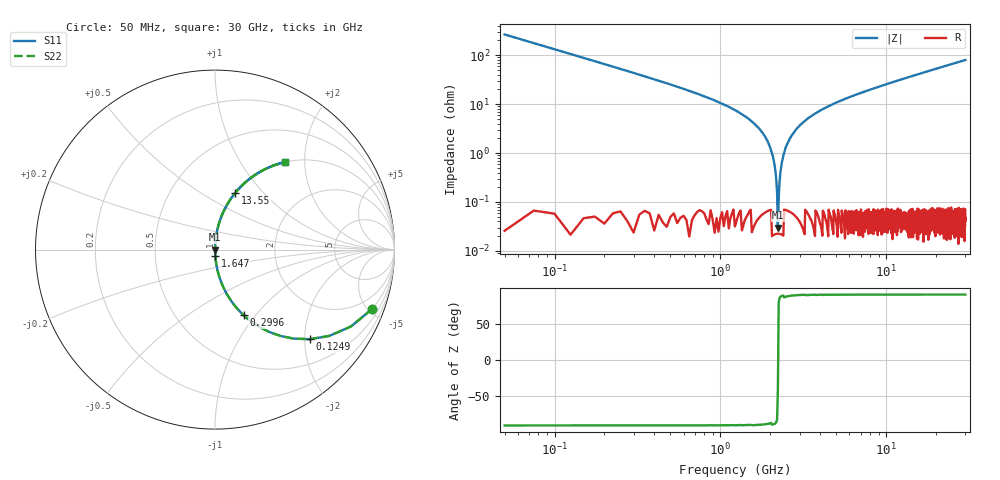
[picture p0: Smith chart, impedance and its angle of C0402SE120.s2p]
# MHZ S MA R 50
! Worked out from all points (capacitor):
!   1201 points, 50 MHz to 30 GHz, reference 50 ohm
!   read as one part in series: C = 12 pF near 199.8 MHz
!   lowest |Z| = 29.8 mohm at 2.221 GHz (marker M1)
!   series resonance near 2.225 GHz, so ESL is about 430 pH
!   S11 on the Smith chart (normalised r, x): 50 MHz: 0.99, -5.30; 124.9 MHz: 1.00, -2.12; 299.6 MHz: 1.00, -0.87; 1.647 GHz: 1.00, -0.07; 13.55 GHz: 1.00, +0.71; 30 GHz: 1.00, +1.60
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50  0.936 -20.7  0.353 69.3  0.353 69.3  0.936 -20.7
124.875  0.727 -43.4  0.687 46.6  0.687 46.6  0.727 -43.4
299.583  0.399 -66.5  0.917 23.5  0.917 23.5  0.399 -66.5
624.042  0.192 -78.8  0.981 11.1  0.981 11.1  0.192 -78.8
1647.333  0.036 -87.2  0.999 2.1  0.999 2.1  0.036 -87.2
1921.875  0.018 -87.5  0.999 1.0  0.999 1.0  0.018 -87.5
2021.708  0.011 -87.1  0.999 0.7  0.999 0.7  0.011 -87.1
2121.542  0.005699 -85.1  1 0.3  1 0.3  0.005699 -85.1
2221.375  0.0004924 -24.0  1 0.0  1 0.0  0.0004924 -24.0
2321.208  0.00506 84.6  1 -0.3  1 -0.3  0.00506 84.6
2446  0.011 87.1  0.999 -0.6  0.999 -0.6  0.011 87.1
2545.833  0.016 87.5  0.999 -0.9  0.999 -0.9  0.016 87.5
2970.125  0.035 87.3  0.999 -2.0  0.999 -2.0  0.035 87.3
3818.708  0.067 85.8  0.997 -3.9  0.997 -3.9  0.067 85.8
5041.667  0.108 83.6  0.994 -6.2  0.994 -6.2  0.108 83.6
7113.208  0.169 80.1  0.985 -9.8  0.985 -9.8  0.169 80.1
10058.29  0.248 75.5  0.968 -14.4  0.968 -14.4  0.248 75.5
13552.46  0.333 70.5  0.943 -19.4  0.943 -19.4  0.333 70.5
15025  0.366 68.5  0.93 -21.5  0.93 -21.5  0.366 68.5
20016.67  0.468 62.1  0.883 -27.9  0.883 -27.9  0.468 62.1
25033.29  0.554 56.3  0.832 -33.6  0.832 -33.6  0.554 56.3
30000  0.624 51.3  0.781 -38.6  0.781 -38.6  0.624 51.3
